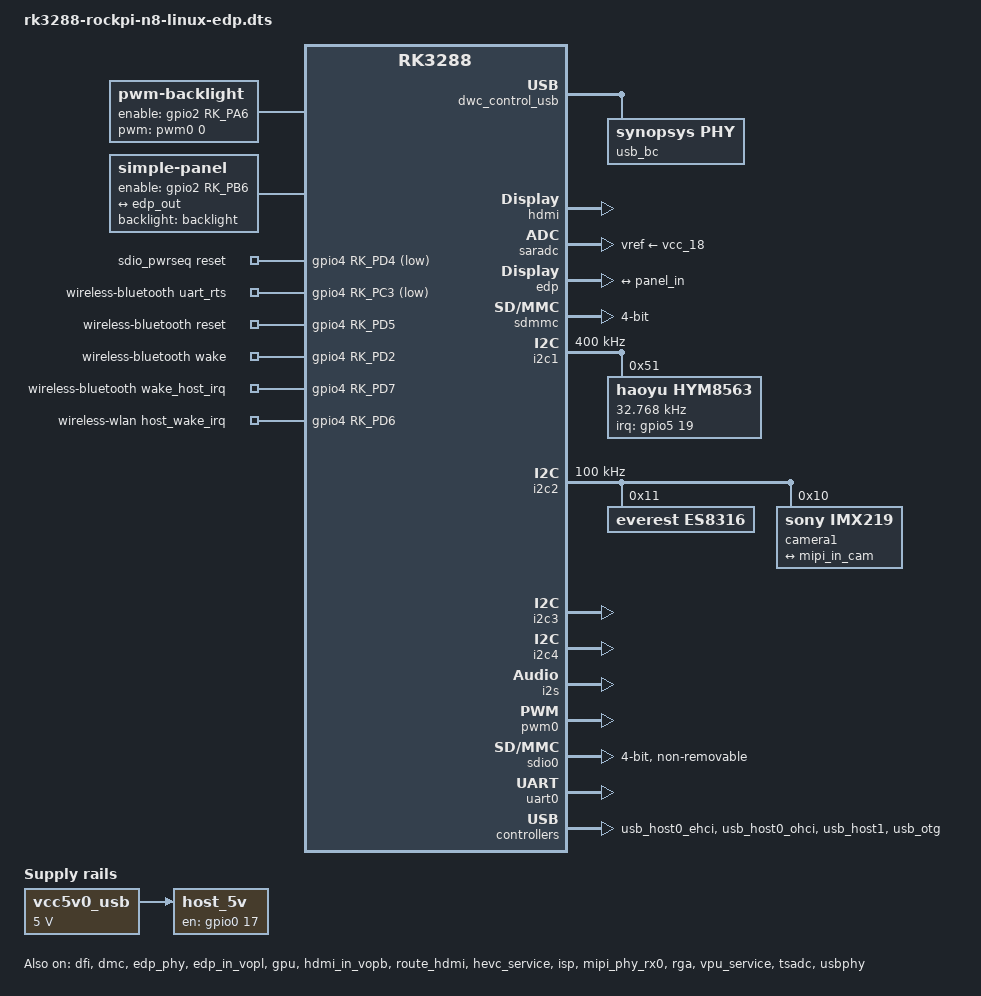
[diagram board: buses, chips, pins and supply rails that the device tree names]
// SPDX-License-Identifier: (GPL-2.0+ OR MIT)
// Copyright (c) 2018 Fuzhou Rockchip Electronics Co., Ltd

/dts-v1/;
#include "rk3288-vmarc-som.dtsi"
#include "rk3288-linux.dtsi"
#include "rk3288-rkisp1.dtsi"

/ {
	compatible = "rockchip,rk3288-rockpi-n8-linux", "rockchip,rk3288";

	/delete-node/ chosen;

	backlight: backlight {
		status = "okay";
		compatible = "pwm-backlight";
		pwms = <&pwm0 0 25000 0>;
		brightness-levels = <
			  0  20  20  21  21  22  22  23
			 23  24  24  25  25  26  26  27
			 27  28  28  29  29  30  30  31
			 31  32  32  33  33  34  34  35
			 35  36  36  37  37  38  38  39
			 40  41  42  43  44  45  46  47
			 48  49  50  51  52  53  54  55
			 56  57  58  59  60  61  62  63
			 64  65  66  67  68  69  70  71
			 72  73  74  75  76  77  78  79
			 80  81  82  83  84  85  86  87
			 88  89  90  91  92  93  94  95
			 96  97  98  99 100 101 102 103
			104 105 106 107 108 109 110 111
			112 113 114 115 116 117 118 119
			120 121 122 123 124 125 126 127
			128 129 130 131 132 133 134 135
			136 137 138 139 140 141 142 143
			144 145 146 147 148 149 150 151
			152 153 154 155 156 157 158 159
			160 161 162 163 164 165 166 167
			168 169 170 171 172 173 174 175
			176 177 178 179 180 181 182 183
			184 185 186 187 188 189 190 191
			192 193 194 195 196 197 198 199
			200 201 202 203 204 205 206 207
			208 209 210 211 212 213 214 215
			216 217 218 219 220 221 222 223
			224 225 226 227 228 229 230 231
			232 233 234 235 236 237 238 239
			240 241 242 243 244 245 246 247
			248 249 250 251 252 253 254 255
		>;
		default-brightness-level = <10>;
		pinctrl-names = "default";
		pinctrl-0 = <&bl_en>;
		enable-gpios = <&gpio2 RK_PA6 GPIO_ACTIVE_HIGH>;
	};
	
	panel: panel {
		status = "okay";
		compatible = "simple-panel";
		backlight = <&backlight>;
		enable-gpios = <&gpio2 RK_PB6 GPIO_ACTIVE_HIGH>;
		prepare-delay-ms = <100>;
		enable-delay-ms = <100>;
		reset-delay-ms = <100>;

		display-timings {
			native-mode = <&timing0>;

			timing0: timing0 {
				clock-frequency = <65000000>;
				hactive = <1280>;
				vactive = <800>;
				hfront-porch = <28>;
				hsync-len = <16>;
				hback-porch = <16>;
				vfront-porch = <6>;
				vsync-len = <2>;
				vback-porch = <4>;
				hsync-active = <0>;
				vsync-active = <0>;
				de-active = <0>;
				pixelclk-active = <0>;
			};
		};

		ports {
			panel_in: endpoint {
				remote-endpoint = <&edp_out>;
			};
		};
	};

	sound: sound {
		status = "okay";
		compatible = "simple-audio-card";
		simple-audio-card,format = "i2s";
		simple-audio-card,name = "rockchip,es8316-codec";
		simple-audio-card,mclk-fs = <256>;

		simple-audio-card,widgets =
			"Microphone", "Mic Jack",
			"Headphone","Headphone Jack";
		simple-audio-card,routing =
			"Mic Jack", "MICBIAS1",
			"IN1P", "Mic Jack",
			"Headphone Jack", "HPOL",
			"Headphone Jack", "HPOR";

		simple-audio-card,dai-link@0 {
			format = "i2s";
			cpu {
				sound-dai = <&i2s>;
			};

			codec {
				sound-dai = <&es8316>;
			};
		};

		simple-audio-card,dai-link@1 {
			format = "i2s";
			cpu {
				sound-dai = <&i2s>;
			};

			codec {
				sound-dai = <&hdmi>;
			};
		};
	};

	sdio_pwrseq: sdio-pwrseq {
		compatible = "mmc-pwrseq-simple";
		clocks = <&rk808 1>;
		clock-names = "ext_clock";
		pinctrl-names = "default";
		pinctrl-0 = <&wifi_enable_h>;

		/*
		 * On the module itself this is one of these (depending
		 * on the actual card populated):
		 * - SDIO_RESET_L_WL_REG_ON
		 * - PDN (power down when low)
		 */
		reset-gpios = <&gpio4 RK_PD4 GPIO_ACTIVE_LOW>;
	};

	vcc5v0_usb: vcc5v0-usb {
		compatible = "regulator-fixed";
		regulator-name = "vcc5v0_usb";
		regulator-always-on;
		regulator-boot-on;
		regulator-min-microvolt = <5000000>;
		regulator-max-microvolt = <5000000>;
	};

	host_5v: host-5v {
		compatible = "regulator-fixed";
		enable-active-high;
		gpio = <&gpio0 17 GPIO_ACTIVE_HIGH>;
		pinctrl-names = "default";
		pinctrl-0 = <&usb1_en_oc>;
		regulator-name = "host_5v";
		regulator-always-on;
		regulator-boot-on;
		vin-supply = <&vcc5v0_usb>;
	};

	wireless-bluetooth {
		compatible = "bluetooth-platdata";
		uart_rts_gpios = <&gpio4 RK_PC3 GPIO_ACTIVE_LOW>;
		pinctrl-names = "default", "rts_gpio";
		pinctrl-0 = <&uart0_rts>;
		pinctrl-1 = <&uart0_gpios>;
		BT,reset_gpio    = <&gpio4 RK_PD5 GPIO_ACTIVE_HIGH>;
		BT,wake_gpio     = <&gpio4 RK_PD2 GPIO_ACTIVE_HIGH>;
		BT,wake_host_irq = <&gpio4 RK_PD7 GPIO_ACTIVE_HIGH>;
		status = "okay";
	};

	wireless-wlan {
		compatible = "wlan-platdata";
		rockchip,grf = <&grf>;
		wifi_chip_type = "ap6256";
		sdio_vref = <1800>;
		WIFI,host_wake_irq = <&gpio4 RK_PD6 GPIO_ACTIVE_HIGH>;
		status = "okay";
	};

	dwc_control_usb: dwc-control-usb@ff770284 {
		compatible = "rockchip,rk3288-dwc-control-usb";
		status = "okay";
		reg = <0x0 0xff770284 0x0 0x04>, <0x0 0xff770288 0x0 0x04>,
			<0x0 0xff7702cc 0x0 0x04>, <0x0 0xff7702d4 0x0 0x04>,
			<0x0 0xff770320 0x0 0x14>, <0x0 0xff770334 0x0 0x14>,
			<0x0 0xff770348 0x0 0x10>, <0x0 0xff770358 0x0 0x08>,
			<0x0 0xff770360 0x0 0x08>;
		reg-names = "GRF_SOC_STATUS1" ,"GRF_SOC_STATUS2",
					"GRF_SOC_STATUS19", "GRF_SOC_STATUS21",
					"GRF_UOC0_BASE", "GRF_UOC1_BASE",
					"GRF_UOC2_BASE", "GRF_UOC3_BASE",
					"GRF_UOC4_BASE";
		interrupts = <GIC_SPI 93 IRQ_TYPE_LEVEL_HIGH>,
					<GIC_SPI 94 IRQ_TYPE_LEVEL_HIGH>,
					<GIC_SPI 95 IRQ_TYPE_LEVEL_HIGH>,
					<GIC_SPI 96 IRQ_TYPE_LEVEL_HIGH>,
					<GIC_SPI 97 IRQ_TYPE_LEVEL_HIGH>;
		interrupt-names = "otg_id", "otg_bvalid",
					"otg_linestate", "host0_linestate",
					"host1_linestate";
		clocks = <&cru HCLK_USB_PERI>;
		clock-names = "hclk_usb_peri";

		pinctrl-names = "default";
		pinctrl-0 = <&usb0_en_oc>;
		otg_drv_gpio = <&gpio0 13 GPIO_ACTIVE_HIGH>;
		rockchip,remote_wakeup;
		rockchip,usb_irq_wakeup;

		usb_bc {
			compatible = "synopsys,phy";
			rk_usb,bvalid     = <0x288 14 1>;
			rk_usb,iddig      = <0x288 17 1>;
			rk_usb,dcdenb     = <0x328 14 1>;
			rk_usb,vdatsrcenb = <0x328  7 1>;
			rk_usb,vdatdetenb = <0x328  6 1>;
			rk_usb,chrgsel    = <0x328  5 1>;
			rk_usb,chgdet     = <0x2cc 23 1>;
			rk_usb,fsvminus   = <0x2cc 25 1>;
			rk_usb,fsvplus    = <0x2cc 24 1>;
		};
	};
};

&dfi {
	status = "okay";
};

&dmc {
	status = "okay";
};

&hdmi {
	#address-cells = <1>;
	#size-cells = <0>;
	#sound-dai-cells = <0>;
	status = "okay";
};

&saradc {
	vref-supply = <&vcc_18>;
	status = "okay";
};

&edp {
	status = "okay";
	force-hpd;

	ports {
		port@1 {
			reg = <1>;
			#address-cells = <1>;
			#size-cells = <0>;
			edp_out: endpoint {
				reg = <0>;
				remote-endpoint = <&panel_in>;
			};
		};
	};
};

&edp_phy {
	status = "okay";
};

&edp_in_vopl {
	status = "okay";
};

&edp_in_vopb {
	status = "disabled";
};

&gpu {
	status = "okay";
	mali-supply = <&vdd_gpu>;
};

&hdmi_in_vopl {
	status = "disabled";
};

&hdmi_in_vopb {
	status = "okay";
};

&route_hdmi{
	status = "okay";
};

&sdmmc {
	supports-sd;
	bus-width = <4>;
	cap-mmc-highspeed;
	sd-uhs-sdr12;
	sd-uhs-sdr25;
	sd-uhs-sdr50;
	sd-uhs-sdr104;
	cap-sd-highspeed;
	card-detect-delay = <200>;
	disable-wp;			/* wp not hooked up */
	num-slots = <1>;
	pinctrl-names = "default";
	pinctrl-0 = <&sdmmc_clk &sdmmc_cmd &sdmmc_cd &sdmmc_bus4>;
	status = "okay";
	//vmmc-supply = <&vcc_sd>;
	vqmmc-supply = <&vccio_sd>;
	supports-sd;
};

&i2c1 {
	status = "okay";
	clock-frequency = <400000>;

	hym8563: hym8563@51 {
		compatible = "haoyu,hym8563";
		reg = <0x51>;
		#clock-cells = <0>;
		clock-frequency = <32768>;
		clock-output-names = "xin32k";
		pinctrl-names = "default";
		pinctrl-0 = <&hym8563_int>;
		interrupt-parent = <&gpio5>;
		interrupts = <19 IRQ_TYPE_LEVEL_LOW>;
	};
};

&rk808_rtc{
	status = "disabled";
};

&hevc_service {
	status = "okay";
};

&i2c2 {
	status = "okay";
	i2c-scl-rising-time-ns = <300>;
	i2c-scl-falling-time-ns = <15>;
	clock-frequency = <100000>;

	es8316: es8316@11 {
		status = "okay";
		#sound-dai-cells = <0>;
		compatible = "everest,es8316";
		reg = <0x11>;
		clocks = <&cru SCLK_I2S0_OUT>;
		clock-names = "mclk";
		//spk-con-gpio = <&gpio2 3 GPIO_ACTIVE_HIGH>;
	//	hp-det-gpio = <&gpio2 3 GPIO_ACTIVE_LOW>;
		pinctrl-names = "default";
		pinctrl-0 = <&i2s0_mclk>;
	};

	camera1: camera-module@10 {
		status = "okay";
		compatible = "sony,imx219";
		reg = <0x10>;

		clocks = <&cru SCLK_VIP_OUT>;
		clock-names = "clk_cif_out";
		rockchip,camera-module-index = <0>;
		rockchip,camera-module-facing = "back";
		rockchip,camera-module-name = "imx219";
		rockchip,camera-module-lens-name = "none";

		port {
			cam_out: endpoint {
				remote-endpoint = <&mipi_in_cam>;
				data-lanes = <1 2>;
			};
		};
	};
};

&i2c3 {
	status = "okay";
};

&i2c4 {
	status = "okay";
};

&isp {
	status = "okay";

	port {
		isp_mipi_in: endpoint {
			remote-endpoint = <&dphy_rx0_out>;
		};
	};
};

&isp_mmu {
	status = "okay";
};

&mipi_phy_rx0 {
	status = "okay";

	ports {
		#address-cells = <1>;
		#size-cells = <0>;

		port@0 {
			reg = <0>;

			mipi_in_cam: endpoint {
				remote-endpoint = <&cam_out>;
				data-lanes = <1 2>;
			};
		};

		port@1 {
			reg = <1>;

			dphy_rx0_out: endpoint {
				remote-endpoint = <&isp_mipi_in>;
			};
		};
	};
};

&i2s {
	#sound-dai-cells = <0>;
	status = "okay";
};

&pwm0 {
	status = "okay";
};

&rga {
	status = "okay";
};

&sdio0 {
	status = "okay";
	max-frequency = <150000000>;

	bus-width = <4>;
	cap-sd-highspeed;
	cap-sdio-irq;
	disable-wp;
	keep-power-in-suspend;
	mmc-pwrseq = <&sdio_pwrseq>;
	non-removable;
	num-slots = <1>;
	pinctrl-names = "default";
	pinctrl-0 = <&sdio0_bus4 &sdio0_cmd &sdio0_clk &sdio0_int>;
	sd-uhs-sdr104;
	supports-sdio;
};

&uart0 {
	pinctrl-names = "default";
	pinctrl-0 = <&uart0_xfer &uart0_cts>;
	status = "okay";
};

&uart2 {
	status = "disabled";
};

&vpu_service {
	status = "okay";
};

&tsadc {
	rockchip,hw-tshut-polarity = <0>; /* tshut polarity 0:LOW 1:HIGH */
	status = "okay";
};

&vopb {
	assigned-clocks = <&cru DCLK_VOP0>;
	assigned-clock-parents = <&cru PLL_GPLL>;
};

&vopl {
	assigned-clocks = <&cru DCLK_VOP1>;
	assigned-clock-parents = <&cru PLL_CPLL>;
};

&usbphy {
	status = "okay";
};

&usb_host0_ehci {
	rockchip-relinquish-port;
	//no-relinquish-port;
	status = "okay";
};

&usb_host0_ohci {
	status = "okay";
};

&usb_host1 {
	status = "okay";
};

&usb_otg {
	compatible = "rockchip,rk3288_usb20_otg";
	clocks = <&usbphy0>, <&cru HCLK_OTG0>;
	clock-names = "clk_usbphy0", "hclk_usb0";
	resets = <&cru SRST_USBOTG_AHB>,
		 <&cru SRST_USBOTG_PHY>,
		 <&cru SRST_USBOTG_CON>;
	reset-names = "otg_ahb", "otg_phy", "otg_controller";
	/*0 - Normal, 1 - Force Host, 2 - Force Device*/
	rockchip,usb-mode = <0>;
	status = "okay";
};

&pinctrl {
	hym8563 {
		hym8563_int: hym8563-int {
			rockchip,pins =
				<5 RK_PC3 0 &pcfg_pull_up>;
		};
	};

	sdio-pwrseq {
		wifi_enable_h: wifi-enable-h {
			rockchip,pins =
				<4 RK_PD4 0 &pcfg_pull_none>;
		};
	};

	host_5v {
		usb1_en_oc: usb1-en-oc {
			rockchip,pins =
				<0 17 RK_FUNC_GPIO &pcfg_pull_none_12ma>;
		};
	};

	vbus_typec {
		usb0_en_oc: usb0-en-oc {
			rockchip,pins =
				<0 13 RK_FUNC_GPIO &pcfg_pull_up>;
		};
	};

	sdmmc {
		sdmmc_bus4: sdmmc-bus4 {
			rockchip,pins =
				<6 16 RK_FUNC_1 &pcfg_pull_up_drv_8ma>,
				<6 17 RK_FUNC_1 &pcfg_pull_up_drv_8ma>,
				<6 18 RK_FUNC_1 &pcfg_pull_up_drv_8ma>,
				<6 19 RK_FUNC_1 &pcfg_pull_up_drv_8ma>;
		};

		sdmmc_clk: sdmmc-clk {
			rockchip,pins =
				<6 20 RK_FUNC_1 &pcfg_pull_none_drv_8ma>;
		};

		sdmmc_cmd: sdmmc-cmd {
			rockchip,pins =
				<6 21 RK_FUNC_1 &pcfg_pull_up_drv_8ma>;
		};
	};

	wireless-bluetooth {
		uart0_gpios: uart0-gpios {
			rockchip,pins =
				<4 RK_PC3 0 &pcfg_pull_none>;
		};
	};

	backlight {
		bl_en: bl-en {
			rockchip,pins =
				<2 6 RK_FUNC_GPIO &pcfg_pull_none>;// eDP
		};
	};
};

/* DON'T PUT ANYTHING BELOW HERE.  PUT IT ABOVE PINCTRL */
/* DON'T PUT ANYTHING BELOW HERE.  PUT IT ABOVE PINCTRL */
/* DON'T PUT ANYTHING BELOW HERE.  PUT IT ABOVE PINCTRL */
